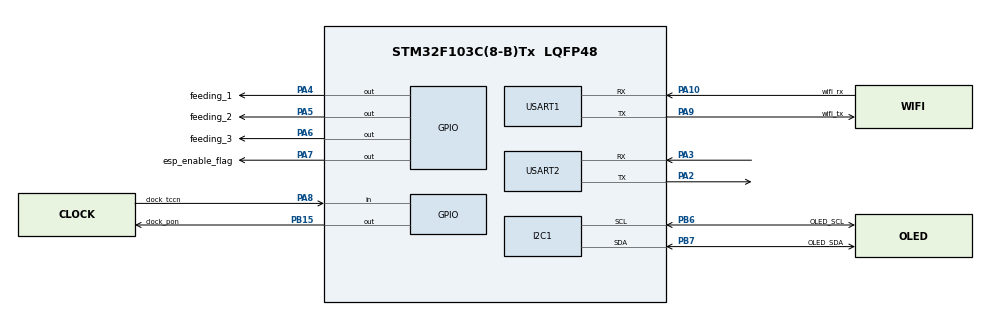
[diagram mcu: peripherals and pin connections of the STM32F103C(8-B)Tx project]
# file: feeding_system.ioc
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Mcu.Family=STM32F1
Mcu.Name=STM32F103C(8-B)Tx
Mcu.Package=LQFP48
NVIC.PriorityGroup=NVIC_PRIORITYGROUP_4
NVIC.USART1_IRQn=true\:0\:0\:false\:false\:true\:false\:true\:true\:true
PA10.GPIO_Label=wifi_rx
PA10.Mode=Asynchronous
PA10.Signal=USART1_RX
PA13.Mode=Serial_Wire
PA13.Signal=SYS_JTMS-SWDIO
PA14.Mode=Serial_Wire
PA14.Signal=SYS_JTCK-SWCLK
PA2.Mode=Asynchronous
PA2.Signal=USART2_TX
PA3.Mode=Asynchronous
PA3.Signal=USART2_RX
PA4.GPIO_Label=feeding_1
PA4.Signal=GPIO_Output
PA5.GPIO_Label=feeding_2
PA5.Signal=GPIO_Output
PA6.GPIO_Label=feeding_3
PA6.Signal=GPIO_Output
PA7.GPIO_Label=esp_enable_flag
PA7.Signal=GPIO_Output
PA8.GPIO_Label=clock_tccn
PA8.Signal=GPIO_Input
PA9.GPIO_Label=wifi_tx
PA9.Mode=Asynchronous
PA9.Signal=USART1_TX
PB15.GPIO_Label=clock_pon
PB15.Signal=GPIO_Output
PB6.GPIO_Label=OLED_SCL
PB6.Mode=I2C
PB6.Signal=I2C1_SCL
PB7.GPIO_Label=OLED_SDA
PB7.Mode=I2C
PB7.Signal=I2C1_SDA
ProjectManager.HeapSize=0x200
ProjectManager.StackSize=0x400
ProjectManager.TargetToolchain=MDK-ARM V5.32
RCC.APB1Freq_Value=8000000
RCC.APB2Freq_Value=8000000
RealThread.RT-Thread.3.1.5.RTOSJjkernel=true
RealThread.RT-Thread.3.1.5.RTOSJjshell=true
USART1.VirtualMode=VM_ASYNC
USART2.VirtualMode=VM_ASYNC
VP_RealThread.RT-Thread_VS_RTOSJjkernel_3.1.5_3.1.5.Mode=RTOSJjkernel
VP_RealThread.RT-Thread_VS_RTOSJjshell_3.1.5_3.1.5.Mode=RTOSJjshell
board=custom

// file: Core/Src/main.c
/* USER CODE BEGIN Header */
/**
 ******************************************************************************
 * @file           : main.c
 * @brief          : Main program body
 ******************************************************************************
 * @attention
 *
 * Copyright (c) 2023 STMicroelectronics.
 * All rights reserved.
 *
 * This software is licensed under terms that can be found in the LICENSE file
 * in the root directory of this software component.
 * If no LICENSE file comes with this software, it is provided AS-IS.
 *
 ******************************************************************************
 */
/* USER CODE END Header */
#include "main.h"
#include "i2c.h"
#include "usart.h"
#include "gpio.h"

/* USER CODE BEGIN Includes */
#include "rtthread.h"
#include "esp01s.h"
#include "feeding.h"
#include <stdlib.h>
#include <string.h>
#include "data_structure.h"
#include "timer.h"
#include <stdio.h>
#include "BPC_DECODE.h"
#include "oled.h"
/* USER CODE END Includes */

void SystemClock_Config(void);
void parseAndProcessCommand(char *command);
void reciveData();
void processJson(void *parameter);
void timerThreadEntry(void *pmt);
void timeInit(void *pmt);

void handleStateZero(void *pmt);

/* USER CODE BEGIN 0 */
char usart1_c;
int dataLen;
char dataLenStr[dataMaxLen];
char *realCommand;
char *jsonMessage;
int AT_OK_Flag = 0;
int AT_Ready_Flag = 0;
int AT_Connect_Net_Flag = 0;
char *status = "初始";
int checkReciveFlag = 0;
DeviceList *deviceList = NULL;
/* USER CODE END 0 */
void initESP(void *pmt)
{
  Esp01s_Init("AspyRain", "Lxr20030106", "8080");
}
int main(void)
{

  /* MCU Configuration--------------------------------------------------------*/

  /* Reset of all peripherals, Initializes the Flash interface and the Systick. */
  HAL_Init();

  /* Configure the system clock */
  SystemClock_Config();

  /* Initialize all configured peripherals */
  MX_GPIO_Init();
  MX_I2C1_Init();
  MX_USART1_UART_Init();
  MX_USART2_UART_Init();
  OLED_Init();
  OLED_Clear();
  /* USER CODE BEGIN 2 */
  HAL_UART_Receive_IT(&huart1, (uint8_t *)&usart1_c, 1);
  OLED_ShowStart();
  /* USER CODE BEGIN 2 */
  /* USER CODE END 2 */
  // 获取初始时间
  checkReciveFlag = 1;
  rt_thread_t checkRecive = rt_thread_create("checkRecive", handleStateZero, RT_NULL, 1024, 1, 10);
  if (checkRecive != RT_NULL)
  {
    rt_thread_startup(checkRecive);
    rt_kprintf("初始化ESP01S中\n");
    Esp01s_Init("AspyRain", "Lxr20030106", "8080");
  }

  /* USER CODE END 2 */
  // 例子插入一个计划

  newPlanList(&planList);
  newDeviceList(&deviceList);
  insertPlan(planList, 1, *newTime(10, 5, 10), 5, *newDate(2023, 12, 27), *newDate(2023, 12, 28));
  insertPlan(planList, 2, *newTime(14, 19, 10), 20, *newDate(2024, 1, 7), *newDate(2024, 12, 29));

  insertDevice(deviceList, "feed_1");
  insertDevice(deviceList, "feed_2");
  insertDevice(deviceList, "feed_3");
  timerInit(newDate(2024, 1, 8), newTime(14, 18, 50), planList);

  //  getCurrentTime(1);
  rt_thread_t timerThread = rt_thread_create("timerThread", timerThreadEntry, RT_NULL, 2048, 3, 10);
  if (timerThread != RT_NULL)
  {
    rt_thread_startup(timerThread);
  }
  rt_thread_t showTimeThread = rt_thread_create("showTimeThread", OLED_Showtime, RT_NULL, 1024, 3, 10);
  if (showTimeThread != RT_NULL)
  {
    is_Change[0] = 1;
    is_Change[1] = 1;
    is_Change[2] = 1;
    is_Change[3] = 1;
    is_Change[4] = 1;
    is_Change[5] = 1;
    rt_thread_startup(showTimeThread);
  }
  /* Infinite loop */
  while (1)
  {
    rt_thread_mdelay(20);
  }
}

void SystemClock_Config(void)
{
  RCC_OscInitTypeDef RCC_OscInitStruct = {0};
  RCC_ClkInitTypeDef RCC_ClkInitStruct = {0};

  /** Initializes the RCC Oscillators according to the specified parameters
   * in the RCC_OscInitTypeDef structure.
   */
  RCC_OscInitStruct.OscillatorType = RCC_OSCILLATORTYPE_HSI;
  RCC_OscInitStruct.HSIState = RCC_HSI_ON;
  RCC_OscInitStruct.HSICalibrationValue = RCC_HSICALIBRATION_DEFAULT;
  RCC_OscInitStruct.PLL.PLLState = RCC_PLL_NONE;
  if (HAL_RCC_OscConfig(&RCC_OscInitStruct) != HAL_OK)
  {
    Error_Handler();
  }

  /** Initializes the CPU, AHB and APB buses clocks
   */
  RCC_ClkInitStruct.ClockType = RCC_CLOCKTYPE_HCLK | RCC_CLOCKTYPE_SYSCLK | RCC_CLOCKTYPE_PCLK1 | RCC_CLOCKTYPE_PCLK2;
  RCC_ClkInitStruct.SYSCLKSource = RCC_SYSCLKSOURCE_HSI;
  RCC_ClkInitStruct.AHBCLKDivider = RCC_SYSCLK_DIV1;
  RCC_ClkInitStruct.APB1CLKDivider = RCC_HCLK_DIV1;
  RCC_ClkInitStruct.APB2CLKDivider = RCC_HCLK_DIV1;

  if (HAL_RCC_ClockConfig(&RCC_ClkInitStruct, FLASH_LATENCY_0) != HAL_OK)
  {
    Error_Handler();
  }
}

/* USER CODE BEGIN 4 */
void parseAndProcessCommand(char *command)
{
  // 在这里解析和处理指令
  if (command != NULL)
  {
    // 在这里处理提取出的值
    // 将提取出的值存储到全局变量中
    rt_kprintf("创建jsonMessage\n");
    jsonMessage = (char *)malloc(strlen(command) + 1);
    rt_kprintf("创建OK\n");
    rt_kprintf("赋值jsonMessage\n");
    if (jsonMessage != NULL && command != NULL)
    {
      strncpy(jsonMessage, command, strlen(command) + 1);
    }
    rt_kprintf("复制成功\n");
    rt_kprintf("jsonString:%s\n", jsonMessage);
    if (jsonMessage != NULL)
    {
      rt_kprintf("进入处理线程\n");

      // 创建线程并传递 command 参数
      rt_thread_t processJsonThread = rt_thread_create("processJson", processJson, RT_NULL, 3096, 3, 10);
      if (processJsonThread != RT_NULL)
      {
        // 启动线程
        rt_thread_startup(processJsonThread);
      }
    }
  }
}

void timerThreadEntry(void *pmt)
{
  int result;
  while (1)
  {
    result = timerRun();
    if (result == 1)
    {
      getCurrentTime(0);
    }
    rt_thread_mdelay(1000);
  }
}
void processJson(void *parameter)
{
  int status;
  int type;
  int device;
  int h, m;
  int duration;
  int beginMonth, beginDay;
  int endMonth, endDay;
  // 使用sscanf进行简单的解析

  // 使用sscanf进行简单的解析
  int parsedItems = sscanf(jsonMessage, "{status:%d,", &status);
  rt_kprintf("status:%d\n", status);
  // 检查解析是否成功
  if (parsedItems != 1)
  {
    // 解析失败，可以输出错误信息或进行其他处理
    rt_kprintf("Error parsing JSON: %s\n", jsonMessage);
    // 释放内存
    free(jsonMessage);
    return;
  }

  // 根据不同的status执行不同的操作
  switch (status)
  {
  case 0:
  {
    rt_thread_mdelay(20);
    char *dataString;
    parsedItems = sscanf(jsonMessage, "{status:%*d,detail:{type:%d}", &type);
    if (parsedItems != 1)
    {
      rt_kprintf("Error parsing JSON: %s\n", jsonMessage);
      // 释放内存
      free(jsonMessage);
      return;
    }
    switch (type)
    {
    case 0:
    {
      deviceToString(deviceList, &dataString);
      espSend(dataString, 1);
      free(dataString);
      break;
    }
    case 1:
    {
      sendPlan(planList);
      break;
    }
    default:
      break;
    }

    break;
  }
  case 1:
  {
    rt_kprintf("进入status:1\n");
    // 类型1的处理
    // 使用sscanf解析详细信息
    parsedItems = sscanf(jsonMessage, "{status:%*d,detail:{type:%d,", &type);
    if (parsedItems != 1)
    {
      rt_kprintf("Error parsing JSON: %s\n", jsonMessage);
      // 释放内存
      free(jsonMessage);
      return;
    }
    switch (type)
    {
    case 0:
    {

      char *deviceName = malloc(30); // 假设 MAX_DEVICE_NAME_LENGTH 是足够大的一个常数
      if (deviceName == NULL)
      {
        // 处理内存分配失败的情况
        rt_kprintf("Memory allocation failed\n");
        return;
      }

      parsedItems = sscanf(jsonMessage, "{status:%*d,detail:{type:%*d,device:{deviceName:%s}}}", deviceName);
      if (parsedItems != 1)
      {
        rt_kprintf("Error parsing JSON: %s\n", jsonMessage);
        // 释放内存
        free(deviceName);
        free(jsonMessage);
        return;
      }

      insertDevice(deviceList, deviceName);
      // 释放内存
      free(deviceName);
      break;
    }
    case 1:
    {
      rt_kprintf("type:1\n");
      parsedItems = sscanf(jsonMessage, "{status:%*d,detail:{type:%*d,{%d,:%d,%d.%d,:%d,%d.:%d,%d}}}",
                           &device, &h, &m, &duration, &beginMonth, &beginDay, &endMonth, &endDay);
      // 检查解析是否成功
      if (parsedItems != 8)
      {
        rt_kprintf("Error parsing JSON: %s\n", jsonMessage);
        // 释放内存
        free(jsonMessage);
        return;
      }
      rt_kprintf("获取完plan数据:start:%d:%d,during:%d月%d日-%d月%d日\n", h, m, beginMonth, beginDay, endMonth, endDay);
      // 在这里执行新建计划的操作，你可以将解析得到的数据传递给相应的函数
      insertPlan(planList, device, *newTime(h, m, 0), duration, *newDate(0, beginMonth, beginDay), *newDate(0, endMonth, endDay));
      espSend("OK\n", 1);
      break;
    }
    default:
      break;
    }

    break;
  }
  case 2:
  {

    // 类型2的处理
    // 使用sscanf解析详细信息
    parsedItems = sscanf(jsonMessage, "{status:%*d,detail:{device:%d}}", &device);

    // 检查解析是否成功
    if (parsedItems != 1)
    {
      rt_kprintf("Error parsing JSON: %s\n", jsonMessage);
      // 释放内存
      free(jsonMessage);
      return;
    }

    // 在这里执行启动投喂器的操作，你可以将解析得到的设备编号传递给相应的函数
    if (device > 0 && device < 4)
    {
      toggle_feed(device);
    }
    break;
  }
  case 3:
  {
    int id;
    parsedItems = sscanf(jsonMessage, "{status:%*d,detail:{type:%d,id:%d}}", &type, &id);
    if (parsedItems != 2)
    {
      rt_kprintf("Error parsing JSON: %s\n", jsonMessage);
      // 释放内存
      free(jsonMessage);
      return;
    }
    if (type == 0)
    {
      deleteDeviceById(deviceList, id);
    }
    else if (type == 1)
    {
      deletePlanById(planList, id);
    }
    break;
  }
  }
  // 处理完毕后，释放内存
  free(jsonMessage);
}
void clearUsart()
{
  memset(usart1_rx_buffer, 0, sizeof(usart1_rx_buffer));
  usart1_rx_index = 0;
}
void handleStateZero(void *pmt)
{
  while (checkReciveFlag == 1)
  {
    if (strstr((const char *)usart1_rx_buffer, "WIFI GOT IP") != NULL)
    {
      AT_Connect_Net_Flag = 1;
      clearUsart();
    }

    if (strstr((const char *)usart1_rx_buffer, "OK") != NULL)
    {
      AT_OK_Flag = 1;
      clearUsart();
    }

    if (strstr((const char *)usart1_rx_buffer, "ready") != NULL)
    {
      AT_Ready_Flag = 1;
      clearUsart();
    }
    rt_thread_mdelay(20);
  }
}
void reciveData()
{
  if (usart1_rx_index == -1)
    usart1_rx_index++;
  else
  {
    switch (esp_command_flag)
    {
    case 1:

      if (usart1_rx_index < dataMaxLen)
      {
        dataLenStr[usart1_rx_index++] = usart1_c;
      }
      else
      {
        rt_kprintf("data too long!\n");
      }
      break;
    case 2:

      if (usart1_rx_index < dataLen)
      {
        realCommand[usart1_rx_index++] = usart1_c;
      }
      else
      {
        rt_kprintf("data error!\n");
      }
      break;
    default:
      usart1_rx_buffer[usart1_rx_index++] = usart1_c;
      break;
    }
  }
}
void HAL_UART_RxCpltCallback(UART_HandleTypeDef *huart)
{
  if (huart == &huart1)
  {
    if (esp_command_flag == 3)
      esp_command_flag = 0;
    if (usart1_rx_index >= BUFFER_SIZE - 1)
    {
      clearUsart();
    }
    if (esp_flag == 1)
    {
      if (usart1_c == '+')
      {
        clearUsart();
      }
      else if (strstr((const char *)usart1_rx_buffer, "+IPD,0,") != NULL) // 获取到报文开头，准备获取数据长度
      {
        // 收到数据段长度
        esp_command_flag = 1;
        // 清空接收缓冲区，准备接收下一条指令
        clearUsart();
      }
      else if (esp_command_flag == 1 && usart1_c == ':') // 获取真实数据
      {
        esp_command_flag = 2;
        dataLen = atoi(dataLenStr);
        usart1_rx_index = -1;
        memset(dataLenStr, 0, sizeof(dataLenStr));
        realCommand = (char *)malloc((dataLen * sizeof(char)) + 1);
        realCommand[dataLen] = '\0';
      }
      else if (usart1_rx_index == dataLen - 1 && esp_command_flag == 2) // 处理数据
      {
        reciveData();
        parseAndProcessCommand(realCommand);
        esp_command_flag = 3;
        usart1_rx_index = -1;
        // 释放先前分配的内存
        free(realCommand);
        // 将指针设置为 NULL
        realCommand = NULL;
      }
    }
    reciveData();
    // 继续启动下一次接收
    HAL_UART_Receive_IT(&huart1, (uint8_t *)&usart1_c, 1);
  }
}
/* USER CODE END 4 */

void Error_Handler(void)
{
  __disable_irq();
  while (1)
  {
  }
}
